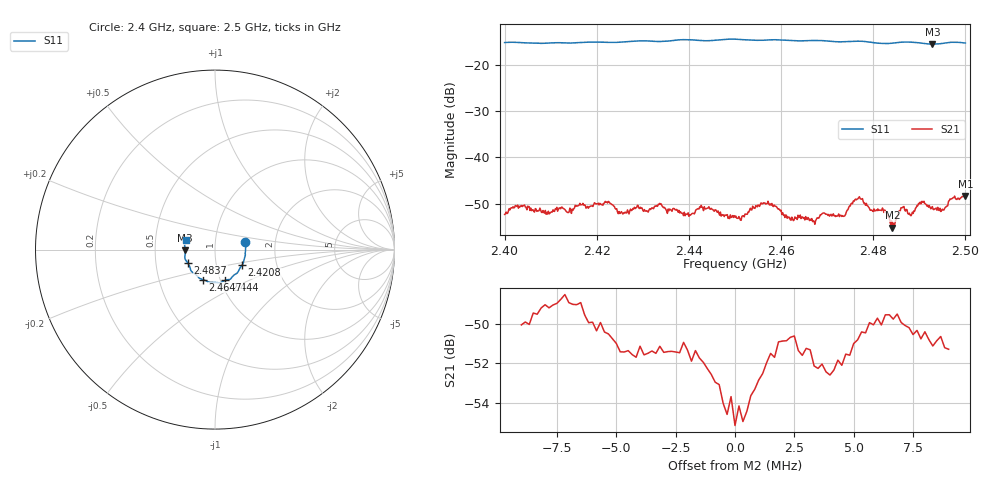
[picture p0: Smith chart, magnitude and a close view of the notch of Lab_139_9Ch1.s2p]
# Hz S RI R 50
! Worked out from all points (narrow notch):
!   601 points, 2.4 GHz to 2.5 GHz, reference 50 ohm
!   highest |S21| = -48.35 dB at 2.5 GHz (marker M1); lowest = -55.2 dB at 2.4842 GHz (marker M2)
!   notch at M2: 3.9 dB deep, 1.5 MHz wide at half that depth
!   lowest |S11| = -15.6 dB at 2.4928 GHz (marker M3), VSWR 1.40, Z = 35.8 - j0.344 ohm
!   |S11| at or under -10 dB: start of sweep to end of sweep
!   S12 and S22 are empty: the file has one direction only
!   S11 on the Smith chart (normalised r, x): 2.4 GHz: 1.40, +0.12; 2.4208 GHz: 1.33, -0.24; 2.444 GHz: 1.06, -0.37; 2.4647 GHz: 0.83, -0.29; 2.4837 GHz: 0.73, -0.11; 2.5 GHz: 0.72, +0.08
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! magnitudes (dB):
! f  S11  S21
! 2.4 GHz  -15.3  -52.3
! 2.4023 GHz  -15.2  -50.4
! 2.4095 GHz  -15.4  -51.6
! 2.4167 GHz  -15.2  -50.2
! 2.4208 GHz  -15.2  -50.1
! 2.4255 GHz  -15.2  -52.0
! 2.4333 GHz  -15.0  -50.1
! 2.4397 GHz  -14.6  -52.3
! 2.444 GHz  -14.9  -51.0
! 2.45 GHz  -14.5  -52.9
! 2.4567 GHz  -14.7  -50.1
! 2.4647 GHz  -14.9  -52.8
! 2.4667 GHz  -14.8  -53.2
! 2.4735 GHz  -15.1  -52.7
! 2.4772 GHz  -15.0  -48.9
! 2.4833 GHz  -15.5  -53.0
! 2.4837 GHz  -15.4  -54.0
! 2.4842 GHz  -15.4  -55.2
! 2.4862 GHz  -15.2  -50.9
! 2.4907 GHz  -15.4  -49.5
! 2.4928 GHz  -15.6  -50.6
! 2.5 GHz  -15.4  -48.3
